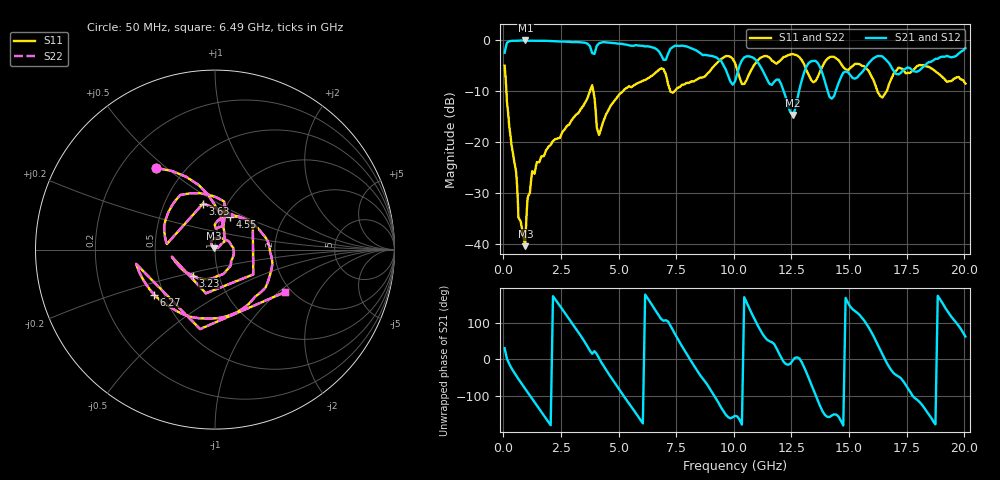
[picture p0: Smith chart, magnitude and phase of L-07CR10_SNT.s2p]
#	mhz	s	ma	r	50
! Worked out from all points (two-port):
!   1001 points, 50 MHz to 20.05 GHz, reference 50 ohm
!   highest |S21| = -0.09 dB at 950 MHz (marker M1); lowest = -14.7 dB at 12.55 GHz (marker M2)
!   |S21| within 3 dB of the highest: start of sweep to 6.861 GHz; 7.113 GHz to 8.955 GHz (1.842 GHz wide, 22.9 % of centre) (the widest 2 of 3)
!   lowest |S11| = -40.4 dB at 950 MHz (marker M3), VSWR 1.02, Z = 49.3 + j0.67 ohm
!   |S11| at or under -10 dB: 128.2 MHz to 3.756 GHz (3.628 GHz wide, 187 % of centre); 3.9 GHz to 5.194 GHz (1.293 GHz wide, 28.4 % of centre); 16.23 GHz to 16.64 GHz (404.4 MHz wide, 2.46 % of centre) (the widest 3 of 4)
!   |S22| runs from -40.4 to -2.7 dB; largest |S21 - S12| = 0
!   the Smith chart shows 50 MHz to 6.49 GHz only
!   S11 on the Smith chart (normalised r, x): 50 MHz: 0.35, +0.46; 3.23 GHz: 0.75, -0.23; 3.63 GHz: 0.77, +0.43; 4.55 GHz: 1.10, +0.42; 6.27 GHz: 0.44, -0.27; 6.49 GHz: 1.84, -1.10
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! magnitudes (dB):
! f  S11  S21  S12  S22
! 50 MHz  -5.0  -2.5  -2.5  -5.0
! 730 MHz  -35.4  -0.1  -0.1  -35.4
! 950 MHz  -40.4  -0.1  -0.1  -40.4
! 1.35 GHz  -26.2  -0.2  -0.2  -26.2
! 3.23 GHz  -14.4  -0.4  -0.4  -14.4
! 3.39 GHz  -13.4  -0.5  -0.5  -13.4
! 3.63 GHz  -11.5  -0.7  -0.7  -11.5
! 3.87 GHz  -9.3  -2.6  -2.6  -9.3
! 4.15 GHz  -18.6  -0.6  -0.6  -18.6
! 4.55 GHz  -13.9  -0.5  -0.5  -13.9
! 6.27 GHz  -7.5  -1.2  -1.2  -7.5
! 6.49 GHz  -6.8  -1.5  -1.5  -6.8
! 6.73 GHz  -5.9  -2.2  -2.2  -5.9
! 7.35 GHz  -10.3  -1.4  -1.4  -10.3
! 10.05 GHz  -4.5  -8.1  -8.1  -4.5
! 10.81 GHz  -5.4  -3.4  -3.4  -5.4
! 12.55 GHz  -2.7  -14.7  -14.7  -2.7
! 13.39 GHz  -8.0  -4.1  -4.1  -8.0
! 14.25 GHz  -3.3  -11.5  -11.5  -3.3
! 16.73 GHz  -8.8  -4.5  -4.5  -8.8
! 18.15 GHz  -4.9  -5.6  -5.6  -4.9
! 20.05 GHz  -8.5  -1.6  -1.6  -8.5
